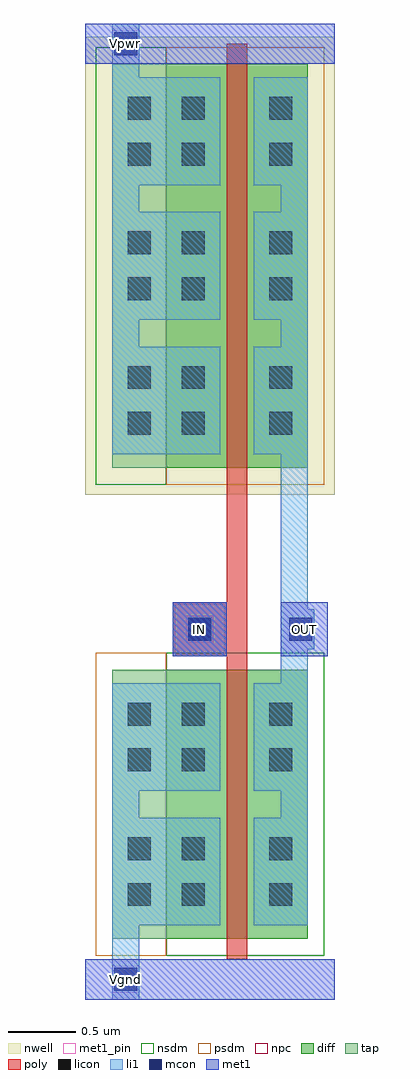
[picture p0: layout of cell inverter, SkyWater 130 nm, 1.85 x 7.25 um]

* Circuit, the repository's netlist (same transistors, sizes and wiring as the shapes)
* NGSPICE file created from inverter.ext - technology: sky130A

.subckt inverter IN OUT Vpwr Vgnd
X0 OUT IN Vpwr Vpwr sky130_fd_pr__pfet_01v8 ad=1.35 pd=6.9 as=1.35 ps=6.9 w=3 l=0.15
X1 OUT IN Vgnd Vgnd sky130_fd_pr__nfet_01v8 ad=0.9 pd=4.9 as=0.9 ps=4.9 w=2 l=0.15
.ends

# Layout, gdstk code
import gdstk
lib = gdstk.Library(unit=1e-6, precision=1e-09)
def R(c, l, rs):  # rectangles x0, y0, x1, y1
    for r in rs: c.add(gdstk.rectangle(r[:2], r[2:], *l))
def A(c, l, x, y, w, h, nx, ny, dx, dy):  # array of equal rectangles
    R(c, l, [(x+i*dx, y+j*dy, x+i*dx+w, y+j*dy+h) for i in range(nx) for j in range(ny)])
nwell = (64, 20)
diff = (65, 20)
tap = (65, 44)
poly = (66, 20)
licon = (66, 44)
li1 = (67, 20)
mcon = (67, 44)
met1_pin = (68, 16)
met1 = (68, 20)
nsdm = (93, 44)
psdm = (94, 20)
npc = (95, 20)

inverter = lib.new_cell('inverter')
R(inverter, nwell, [(-1.05,1.8,0.8,5.2)])
R(inverter, diff, [(-0.45,-1.5,0.6,0.5), (-0.45,2,0.6,5)])
R(inverter, tap, [(-0.85,-1.5,-0.45,0.5), (-0.85,2,-0.45,5)])
R(inverter, poly, [(0,-1.65,0.15,0.6), (-0.4,0.6,0.15,1), (0,1,0.15,5.15)])
R(inverter, licon, [(-0.735,-1.255,-0.565,-1.085), (-0.335,-1.255,-0.165,-1.085), (0.315,-1.255,0.485,-1.085), (-0.735,-0.915,-0.565,-0.745), (-0.335,-0.915,-0.165,-0.745), (0.315,-0.915,0.485,-0.745), (-0.735,-0.255,-0.565,-0.085), (-0.335,-0.255,-0.165,-0.085), (0.315,-0.255,0.485,-0.085), (-0.735,0.085,-0.565,0.255), (-0.335,0.085,-0.165,0.255), (0.315,0.085,0.485,0.255), (-0.285,0.715,-0.115,0.885), (-0.735,2.245,-0.565,2.415), (-0.335,2.245,-0.165,2.415), (0.315,2.245,0.485,2.415), (-0.735,2.585,-0.565,2.755), (-0.335,2.585,-0.165,2.755), (0.315,2.585,0.485,2.755), (-0.735,3.245,-0.565,3.415), (-0.335,3.245,-0.165,3.415), (0.315,3.245,0.485,3.415), (-0.735,3.585,-0.565,3.755), (-0.335,3.585,-0.165,3.755), (0.315,3.585,0.485,3.755), (-0.735,4.245,-0.565,4.415), (-0.335,4.245,-0.165,4.415), (0.315,4.245,0.485,4.415), (-0.735,4.585,-0.565,4.755), (-0.335,4.585,-0.165,4.755), (0.315,4.585,0.485,4.755)])
A(inverter, li1, -0.85, 2.1, 0.8, 0.8, 1, 3, 0, 1)
A(inverter, li1, 0.2, 2.1, 0.4, 0.8, 1, 3, 0, 1)
R(inverter, li1, [(-0.85,-1.95,-0.65,-1.4), (-0.85,-1.4,-0.05,-0.6), (0.2,-1.4,0.6,-0.6), (-0.85,-0.6,-0.65,-0.4), (0.4,-0.6,0.6,-0.4), (-0.85,-0.4,-0.05,0.4), (0.2,-0.4,0.6,0.4), (0.4,0.4,0.6,0.65), (-0.4,0.6,0,1), (0.4,0.65,0.65,0.95), (0.4,0.95,0.6,2.1), (-0.85,2.9,-0.65,3.1), (0.4,2.9,0.6,3.1), (-0.85,3.9,-0.65,4.1), (0.4,3.9,0.6,4.1), (-0.85,4.9,-0.65,5.3)])
R(inverter, mcon, [(-0.835,-1.885,-0.665,-1.715), (-0.285,0.715,-0.115,0.885), (0.465,0.715,0.635,0.885), (-0.835,5.065,-0.665,5.235)])
R(inverter, met1_pin, [(-0.85,-1.9,-0.65,-1.7), (0.4,0.6,0.75,1), (-0.3,0.7,-0.1,0.9), (-0.85,5.05,-0.65,5.25)])
R(inverter, met1, [(-1.05,-1.95,0.8,-1.65), (-0.4,0.6,0,1), (0.4,0.6,0.75,1), (-1.05,5,0.8,5.3)])
R(inverter, nsdm, [(-0.45,-1.625,0.725,0.625), (-0.975,1.875,-0.45,5.125)])
R(inverter, psdm, [(-0.975,-1.625,-0.45,0.625), (-0.45,1.875,0.725,5.125)])
R(inverter, npc, [(-0.385,0.615,-0.015,0.985)])
inverter.add(gdstk.Label('IN', (-0.2,0.8), layer=68, texttype=5))
inverter.add(gdstk.Label('OUT', (0.575,0.8), layer=68, texttype=5))
inverter.add(gdstk.Label('Vpwr', (-0.75,5.15), layer=68, texttype=5))
inverter.add(gdstk.Label('Vgnd', (-0.75,-1.8), layer=68, texttype=5))

lib.write_gds('inverter.gds')
